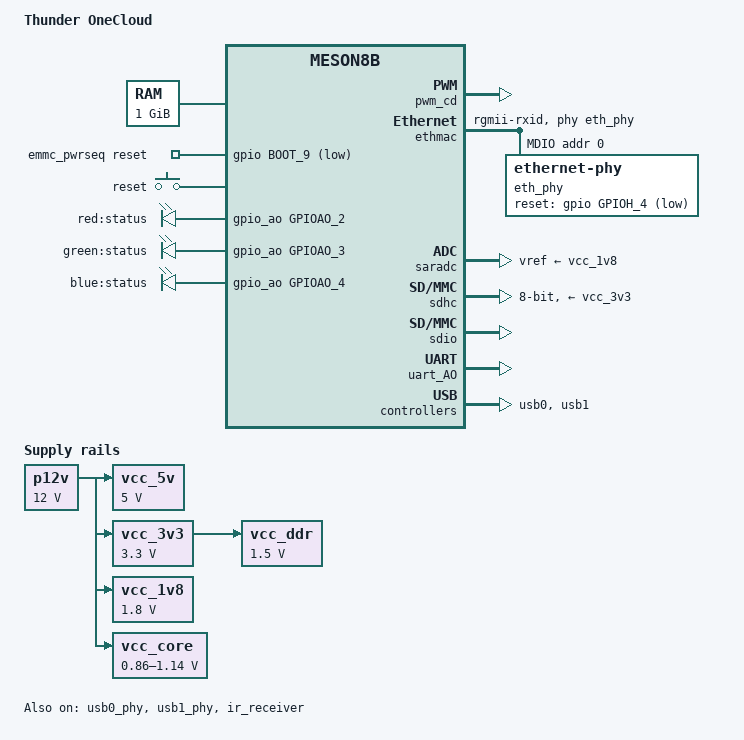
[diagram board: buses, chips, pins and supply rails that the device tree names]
// SPDX-License-Identifier: GPL-2.0 OR MIT

/dts-v1/;
#include "meson8b.dtsi"
#include <dt-bindings/gpio/gpio.h>
#include <dt-bindings/input/input.h>

/ {
	model = "Thunder OneCloud";
	compatible = "thunder,onecloud", "amlogic,meson8b";

	aliases {
		serial0 = &uart_AO;
		mmc0 = &sd_card_slot;
		mmc1 = &sdhc;
	};

	chosen {
		stdout-path = "serial0:115200n8";
	};

	memory {
		device_type = "memory";
		reg = <0x40000000 0x40000000>;
	};

	emmc_pwrseq: emmc-pwrseq {
		compatible = "mmc-pwrseq-emmc";
		reset-gpios = <&gpio BOOT_9 GPIO_ACTIVE_LOW>;
	};

	gpio-keys {
		// compatible = "gpio-keys-polled";
		// poll-interval = <100>;

		compatible = "gpio-keys";

		autorepeat;

		reset-button {
			label = "reset";
			linux,code = <BTN_0>;

			// gpios = <&gpio_ao GPIOAO_5 GPIO_ACTIVE_LOW>;

			interrupt-parent = <&gpio_intc>;
			interrupts = <5 IRQ_TYPE_LEVEL_LOW>; // GPIOAO 5
		};
	};

	leds {
		compatible = "gpio-leds";

		led_status_red: status-red {
			label = "red:status";
			gpios = <&gpio_ao GPIOAO_2 GPIO_ACTIVE_HIGH>;
		};

		led_status_green: status-green {
			label = "green:status";
			gpios = <&gpio_ao GPIOAO_3 GPIO_ACTIVE_HIGH>;
		};

		led_status_blue: status-blue {
			label = "blue:status";
			gpios = <&gpio_ao GPIOAO_4 GPIO_ACTIVE_HIGH>;
		};
	};

	p12v: regulator-p12v {
		compatible = "regulator-fixed";

		regulator-name = "P12V";
		regulator-min-microvolt = <12000000>;
		regulator-max-microvolt = <12000000>;
	};

	vcc_5v: regulator-vcc-5v {
		compatible = "regulator-fixed";

		regulator-name = "VCC5V";
		regulator-min-microvolt = <5000000>;
		regulator-max-microvolt = <5000000>;

		vin-supply = <&p12v>;

		regulator-boot-on;
		regulator-always-on;
	};

	vcc_3v3: regulator-vcc-3v3 {
		compatible = "regulator-fixed";

		regulator-name = "VCC3V3";
		regulator-min-microvolt = <3300000>;
		regulator-max-microvolt = <3300000>;

		vin-supply = <&p12v>;

		regulator-boot-on;
		regulator-always-on;
	};

	vcc_1v8: regulator-vcc-1v8 {
		compatible = "regulator-fixed";

		regulator-name = "VCC1V8";
		regulator-min-microvolt = <1800000>;
		regulator-max-microvolt = <1800000>;

		vin-supply = <&p12v>;

		regulator-boot-on;
		regulator-always-on;
	};

	vcc_ddr: regulator-vcc-ddr {
		compatible = "regulator-fixed";

		regulator-name = "VCC_DDR";
		regulator-min-microvolt = <1500000>;
		regulator-max-microvolt = <1500000>;

		vin-supply = <&vcc_3v3>;

		regulator-boot-on;
		regulator-always-on;
	};

	vcc_core: regulator-vcc-core {
		compatible = "pwm-regulator";

		regulator-name = "VCC_CORE";

		//   ------------------------------------------
		//   |      The actual mapping in phyical       |
		//   --------------------------------------
		//   |      |  100%  |   60%  |   30%  |   0%   |
		//   --------------------------------------
		//   | V1.0 |  677mV |  857mV |  992mV | 1127mV |
		//   | V1.3 | 1116mV | 1121mV | 1125mV | 1129mV |
		//   --------------------------------------
		//
		// According to meson8b.dtsi, the CPU should be able
		// to run at 504MHz with 870mV. But according to my
		// test on V1.0, the system will crash in this case.
		//
		// And this regulator supplies not only CPU but also GPU.
		//
		// So we use higher voltages.

		pwms = <&pwm_cd 1 12001 0>;	// PWM_D
		pwm-dutycycle-range = <30 0>;
		regulator-min-microvolt = <860000>;
		regulator-max-microvolt = <1140000>;

		pwm-supply = <&p12v>;

		regulator-boot-on;
		regulator-always-on;
	};
};

&pwm_cd {
	status = "okay";
	pinctrl-0 = <&pwm_c1_pins>, <&pwm_d_pins>;
	pinctrl-names = "default";
	clocks = <&xtal>, <&xtal>;
	clock-names = "clkin0", "clkin1";
};

&cpu0 {
	cpu-supply = <&vcc_core>;
};


&gpio {
	gpio-line-names =
		// 0-3 Bank GPIOX 0-3
		"7U1_PIN_18", "7U1_PIN_19",
		"7U1_PIN_14", "7U1_PIN_15",
		// 4-7 Bank GPIOX 4-7
		"7U1_PIN_27", "7U1_PIN_25",
		"7U1_PIN_28", "7U1_PIN_26",
		// 8 Bank GPIOX 8
		"R_RightOf_LED",
		// 9 Bank GPIOX 9
		"7U1_PIN_16",
		// 10 Bank GPIOX 10
		"",
		// 11 Bank GPIOX 11
		"7U1_PIN_12",
		// 12-16 Bank GPIOX 16-20
		"7U1_PIN_43", "7U1_PIN_42",
		"7U1_PIN_41(Resistor)", "7U1_PIN_44",
		"7U1_PIN_34",
		// 17 Bank GPIOX 21
		"7U1_PIN_13",

		// 18 Bank GPIOY 0
		"Resistor_TopOf_LED",
		// 19-20 Bank GPIOY 1-3
		"", "",
		// 21-26 Bank GPIOY 6-11
		"", "",
		"", "",
		"", "",
		// 27 Bank GPIOY 12
		"",
		// 28-29 Bank GPIOY 13-14
		"Left_BottomOf_CPU",  "Right_BottomOf_CPU",

		// 30 Bank GPIODV 9
		"VCCK_PWM (PWM_C)",
		// 31-35 Bank GPIODV 24-28
		"I2CA_SDA", "I2CA_SCL",
		"I2CB_SDA", "I2CB_SCL",
		"VDDEE_PWM (PWM_D)",
		// 36 Bank GPIODV 29
		"",

		// 37-39 Bank GPIOH 0-2
		"HDMI_HPD", "HDMI_I2C_SDA", "HDMI_I2C_SCL",
		// 40-46 Bank GPIOH 3-9
		"ETH_PHY_INTR", "ETH_PHY_NRST",
		"ETH_TXD1", "ETH_TXD0",
		"ETH_TXD3", "ETH_TXD2",
		"ETH_RGMII_TX_CLK",

		// 47-53 Bank CARD 0-6
		"SD_D1", "SD_D0",
		"SD_CLK", "SD_CMD",
		"SD_D3", "SD_D2",
		"SD_CD",

		// 54-65 Bank BOOT 0-11
		"EMMC_D0", "EMMC_D1",
		"EMMC_D2", "EMMC_D3",
		"EMMC_D4", "EMMC_D5",
		"EMMC_D6", "EMMC_D7",
		"EMMC_CLK", "EMMC_RSTn",
		"EMMC_CMD", "BOOT_SEL",
		// 66-72 Bank BOOT 12-18
		"", "",
		"", "",
		"", "",
		"",

		// 73-74 Bank DIF 0P 0N
		"ETH_RXD1", "ETH_RXD0",
		// 75-76 Bank DIF 1P 1N
		"ETH_RX_DV", "RGMII_RX_CLK",
		// 77-78 Bank DIF 2P 2N
		"ETH_RXD3", "ETH_RXD2",
		// 79-80 Bank DIF 3P 3N
		"ETH_TXEN", "ETH_PHY_REF_CLK_25MOUT",
		// 81-82 Bank DIF 4P 4N
		"ETH_MDC", "ETH_MDIO";
};

&gpio_ao {
	gpio-line-names =
		// 0-1 Band GPIOAO 0-1
		"UART TX", "UART RX",
		// 2-4 Band GPIOAO 2-4
		"RED_LED", "GREEN_LED", "BLUE_LED",
		// 5 Band GPIOAO 5
		"BUTTON",
		// 6 Band GPIOAO 6
		"",
		// 7 Band GPIOAO 7
		"IR_IN",
		// 8 Band GPIOAO 8-13
		"", "",
		"", "",
		"", "",

		// 14 Band GPIO_BSD_EN
		"",
		// 15 GPIO_TEST_N
		"";
};

&ethmac {
	status = "okay";

	pinctrl-0 = <&eth_rgmii_pins>;
	pinctrl-names = "default";

	phy-handle = <&eth_phy>;
	phy-mode = "rgmii-rxid";

	mdio {
		compatible = "snps,dwmac-mdio";
		#address-cells = <1>;
		#size-cells = <0>;

		// Realtek RTL8211F (0x001cc916)
		eth_phy: ethernet-phy@0 {
			reg = <0>;

			reset-assert-us = <10000>;
			reset-deassert-us = <80000>;
			reset-gpios = <&gpio GPIOH_4 GPIO_ACTIVE_LOW>;

			interrupt-parent = <&gpio_intc>;
			interrupts = <17 IRQ_TYPE_LEVEL_LOW>; // GPIOH 3
		};
	};
};

&saradc {
	status = "okay";
	vref-supply = <&vcc_1v8>;
};

// eMMC
&sdhc {
	status = "okay";

	pinctrl-0 = <&sdxc_c_pins>;
	pinctrl-names = "default";

	bus-width = <8>;
	max-frequency = <100000000>;

	disable-wp;
	cap-mmc-highspeed;
	mmc-hs200-1_8v;
	no-sdio;

	mmc-pwrseq = <&emmc_pwrseq>;

	vmmc-supply = <&vcc_3v3>;
	// vqmmc-supply = <&vcc_3v3>;
};

&sdio {
	status = "okay";

	pinctrl-0 = <&sd_b_pins>;
	pinctrl-names = "default";

	// SD card
	sd_card_slot: slot@1 {
		compatible = "mmc-slot";
		reg = <1>;
		status = "okay";

		bus-width = <4>;
		no-sdio;
		cap-mmc-highspeed;
		cap-sd-highspeed;
		disable-wp;

		cd-gpios = <&gpio CARD_6 GPIO_ACTIVE_LOW>;

		vmmc-supply = <&vcc_3v3>;
		// vqmmc-supply = <&vcc_3v3>;
	};
};

&uart_AO {
	status = "okay";
	pinctrl-0 = <&uart_ao_a_pins>;
	pinctrl-names = "default";
};

&usb0_phy {
	status = "okay";
};

&usb0 {
	status = "okay";
};

&usb1_phy {
	status = "okay";
};

&usb1 {
	status = "okay";
};

&ir_receiver {
	status = "okay";
	pinctrl-0 = <&ir_recv_pins>;
	pinctrl-names = "default";
};
